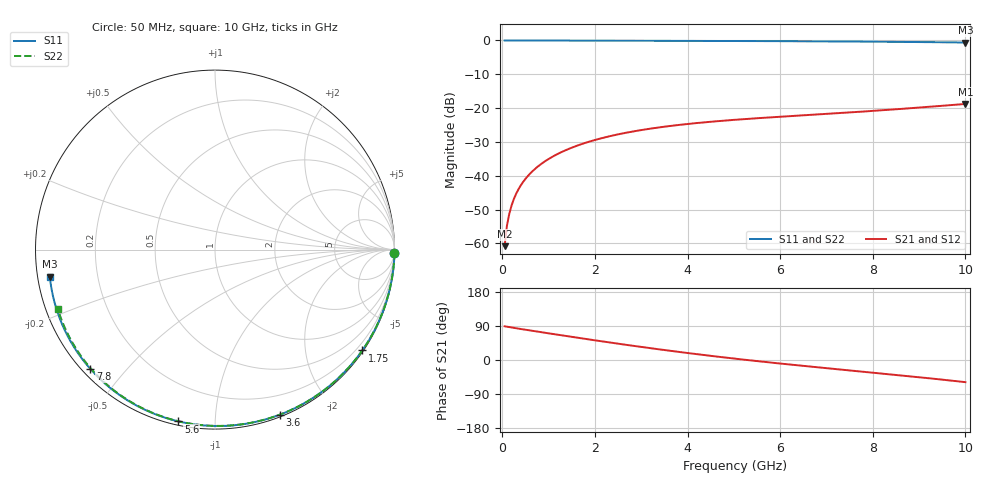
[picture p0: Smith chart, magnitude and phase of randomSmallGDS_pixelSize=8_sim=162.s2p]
! freq	dB(S11)	phase(S11)	dB(S12)	phase(S12)
!  dB(S21)	phase(S21)	dB(S22)	phase(S22)
!S-par simulation data
#  GHz  S  DB  R 50
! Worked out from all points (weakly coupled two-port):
!   200 points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, 50 MHz to 10 GHz, reference 50 ohm
!   highest |S21| = -18.77 dB at 10 GHz (marker M1); lowest = -60.8 dB at 50 MHz (marker M2)
!   lowest |S11| = -0.6 dB at 10 GHz (marker M3), VSWR 28.75, Z = 1.75 - j4.06 ohm
!   |S11| at or under -10 dB: nowhere
!   |S22| runs from -0.6 to 0.0 dB; largest |S21 - S12| = 0
!   S11 on the Smith chart (normalised r, x): 50 MHz: open; 1.75 GHz: 0.03, -3.23; 3.6 GHz: 0.02, -1.47; 5.6 GHz: 0.02, -0.81; 7.8 GHz: 0.02, -0.40; 10 GHz: 0.04, -0.08
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0.05  -0.00 -1.0  -60.80 88.9  -60.80 88.9  -0.00 -1.0
0.1  -0.00 -2.0  -54.79 87.9  -54.79 87.9  -0.00 -1.9
0.15  -0.00 -3.0  -51.27 86.8  -51.27 86.8  -0.00 -2.8
0.2  -0.00 -4.0  -48.78 85.8  -48.78 85.8  -0.00 -3.8
0.25  -0.00 -5.0  -46.86 84.8  -46.86 84.8  -0.00 -4.7
0.35  -0.01 -7.0  -43.96 82.8  -43.96 82.8  -0.01 -6.6
0.5  -0.01 -10.0  -40.91 79.9  -40.91 79.9  -0.01 -9.5
0.7  -0.02 -14.0  -38.04 76.1  -38.04 76.1  -0.02 -13.2
1  -0.03 -19.9  -35.03 70.4  -35.03 70.4  -0.02 -18.8
1.35  -0.04 -26.7  -32.54 63.9  -32.54 63.9  -0.03 -25.3
1.75  -0.05 -34.4  -30.46 56.5  -30.46 56.5  -0.04 -32.6
2.6  -0.07 -50.4  -27.47 41.3  -27.47 41.3  -0.07 -47.7
3.4  -0.10 -64.9  -25.67 27.9  -25.67 27.9  -0.09 -61.5
3.6  -0.10 -68.5  -25.31 24.7  -25.31 24.7  -0.10 -64.9
4.3  -0.13 -80.6  -24.28 13.9  -24.28 13.9  -0.12 -76.4
5.05  -0.16 -93.1  -23.42 3.2  -23.42 3.2  -0.15 -88.2
5.6  -0.19 -102.1  -22.90 -4.2  -22.90 -4.2  -0.18 -96.6
6.7  -0.25 -119.4  -21.96 -17.9  -21.96 -17.9  -0.24 -112.8
7.8  -0.34 -136.3  -21.01 -30.9  -21.01 -30.9  -0.32 -128.4
8.35  -0.40 -144.7  -20.49 -37.4  -20.49 -37.4  -0.37 -136.1
9.2  -0.49 -157.9  -19.63 -47.9  -19.63 -47.9  -0.47 -147.9
10  -0.60 -170.7  -18.77 -58.5  -18.77 -58.5  -0.57 -159.2
